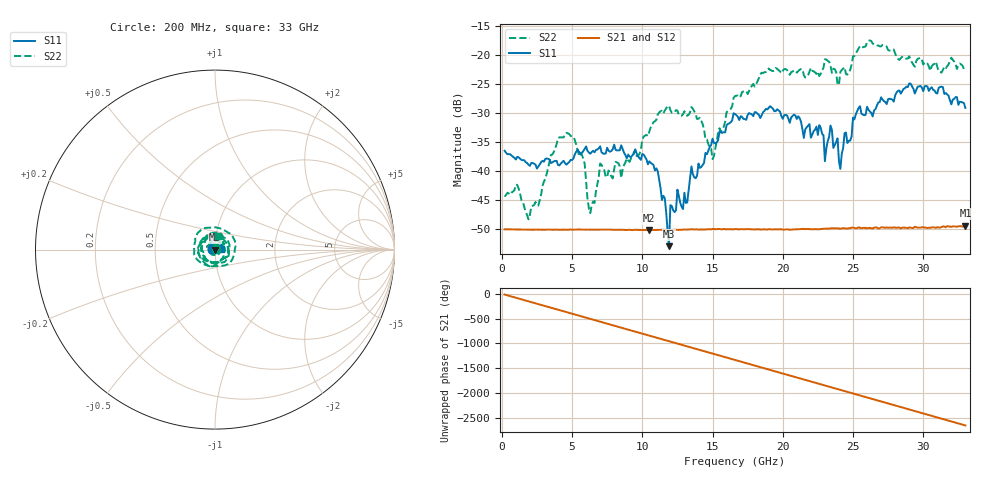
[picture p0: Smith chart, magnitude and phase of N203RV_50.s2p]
# GHZ S RI R 50
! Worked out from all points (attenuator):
!   329 points, 200 MHz to 33 GHz, reference 50 ohm
!   highest |S21| = -49.33 dB at 33 GHz (marker M1); lowest = -50.1 dB at 10.5 GHz (marker M2)
!   lowest |S11| = -52.9 dB at 11.9 GHz (marker M3), VSWR 1.00, Z = 49.8 - j0.0608 ohm
!   |S11| at or under -10 dB: start of sweep to end of sweep
!   |S22| runs from -48.3 to -17.4 dB; largest |S21 - S12| = 7.2e-05
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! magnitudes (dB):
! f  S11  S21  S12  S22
! 200 MHz  -36.4  -50.0  -50.0  -44.4
! 1.9 GHz  -38.9  -50.0  -50.0  -48.3
! 4 GHz  -38.9  -50.0  -50.0  -34.3
! 5.7 GHz  -36.8  -50.0  -50.0  -37.1
! 6.3 GHz  -36.9  -50.0  -50.0  -47.2
! 7 GHz  -35.7  -50.0  -50.0  -38.6
! 8.5 GHz  -35.5  -50.1  -50.1  -41.1
! 10.5 GHz  -38.3  -50.1  -50.1  -33.1
! 11.2 GHz  -41.4  -50.1  -50.0  -29.9
! 11.9 GHz  -52.9  -50.1  -50.0  -28.7
! 12 GHz  -45.8  -50.1  -50.1  -29.4
! 13.2 GHz  -45.3  -50.0  -50.0  -30.4
! 13.5 GHz  -39.1  -50.0  -49.9  -28.9
! 15 GHz  -34.4  -49.9  -49.9  -37.9
! 16.6 GHz  -30.1  -49.9  -49.9  -27.0
! 22.1 GHz  -33.6  -50.0  -49.9  -22.7
! 23 GHz  -38.2  -49.9  -49.8  -20.7
! 23.4 GHz  -32.1  -49.8  -49.8  -21.8
! 24.1 GHz  -39.6  -49.9  -49.8  -22.9
! 25.4 GHz  -29.1  -49.6  -49.6  -18.8
! 27.6 GHz  -27.5  -49.7  -49.7  -19.2
! 33 GHz  -29.1  -49.3  -49.3  -22.4
